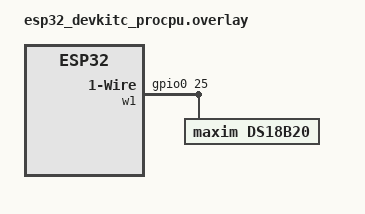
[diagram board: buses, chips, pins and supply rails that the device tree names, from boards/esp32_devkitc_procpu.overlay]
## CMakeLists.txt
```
cmake_minimum_required(VERSION 3.22)

set(ZEPHYR_EXTRA_MODULES
    "$ENV{HOME}/esp32_zephyr_wifi_lib"
    "$ENV{HOME}/esp32_zephyr_ds18b20_lib"
)

find_package(Zephyr REQUIRED HINTS $ENV{ZEPHYR_BASE})
project(wifi_sta_mode)

target_include_directories(app PRIVATE
    include
)

target_sources(app PRIVATE
    src/main.c
    src/udp_socket.c
    src/events.c
)
```

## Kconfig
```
mainmenu "Network Wi-Fi station mode application"

config UDP_SERVER_ADDR
	string "UDP Server IP address"
	help
	  The UDP server IP address
	  For example: "192.168.50.1"

config UDP_SERVER_PORT
	int "UDP Server Port"
	help
	  The UDP server port
	  For example: 4242

source "Kconfig.zephyr"
```

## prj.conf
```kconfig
# --- Core Networking ---
CONFIG_NETWORKING=y
CONFIG_NET_IPV4=y
CONFIG_NET_UDP=y
CONFIG_NET_SOCKETS=y
CONFIG_POSIX_API=y

# --- Wi-Fi ---
CONFIG_WIFI=y
CONFIG_WIFI_ESP32=y
CONFIG_NET_L2_WIFI_MGMT=y

# --- DHCP (Client only) ---
CONFIG_NET_DHCPV4=y
CONFIG_ESP32_WIFI_STA_AUTO_DHCPV4=y

# --- Connection Management ---
CONFIG_NET_CONNECTION_MANAGER=y
CONFIG_NET_MGMT=y
CONFIG_NET_MGMT_EVENT=y

# --- Logging ---
CONFIG_LOG=y
CONFIG_NET_LOG=y

# --- Enable 1-Wire subsystem ---
CONFIG_W1_ZEPHYR_GPIO=y
CONFIG_W1=y

# --- Enable DS18B20 sensor ---
CONFIG_SENSOR=y
CONFIG_DS18B20=y

# --- Enable Zbus ---
CONFIG_ZBUS=y
CONFIG_ZBUS_RUNTIME_OBSERVERS=y
```

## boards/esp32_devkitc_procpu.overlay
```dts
/*
 * ESP32 DevKit C Temperature Monitor Device Tree Overlay
 *
 * Hardware Configuration:
 * - DS18B20 temperature sensor on GPIO 25 with
 * - 4.7kΩ pull-up resistor
 */

/ {
    w1: w1 {
        compatible = "zephyr,w1-gpio";
        gpios = <&gpio0 25 GPIO_ACTIVE_HIGH>;
        status = "okay";

        ds18b20: ds18b20 {
            compatible = "maxim,ds18b20";
            resolution = <12>;
        };
    };
};
```

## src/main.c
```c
#include <zephyr/kernel.h>
#include "ds18b20.h"
#include "ds18b20_events.h"
#include "events.h"
#include "udp_socket.h"
#include "wifi.h"

#define TEMP_READ_INTERVAL_MS 5000
#define TEMP_STACK_SIZE 1024

LOG_MODULE_REGISTER(APP_MAIN, CONFIG_LOG_DEFAULT_LEVEL);
K_THREAD_STACK_DEFINE(temp_stack, TEMP_STACK_SIZE);

static struct k_thread temp_thread_data = {0};
static k_tid_t temp_tid = NULL;
extern struct k_msgq ds18b20_msgq;

static void ds18b20_sampling_thread() {
    while (true) {
        struct ds18b20_event event = {
                .type = REQUEST,
        };
        k_msgq_put(&ds18b20_msgq, &event, K_FOREVER);
        k_msgq_get(&ds18b20_msgq, &event, K_FOREVER);
        if (event.type == RESPONSE) {
            udp_socket_send_data(&event.temperature);
        } else {
            LOG_WRN("Invalid DS18B20 event type: %d", event.type);
        }
        k_sleep(K_MSEC(TEMP_READ_INTERVAL_MS));
    }
}

void on_socket_event(const struct zbus_channel *chan) {
    if (chan != &socket_chan) {
        return;
    }

    const enum socket_status *status = zbus_chan_const_msg(chan);
    if (!status) {
        LOG_WRN("socket_chan returned NULL message pointer");
        return;
    }

    switch (*status) {
    case SOCKET_OPEN:
        if (!temp_tid) {
            LOG_INF("Starting temperature sampling thread");
            temp_tid = k_thread_create(&temp_thread_data,
                                       temp_stack,
                                       K_THREAD_STACK_SIZEOF(temp_stack),
                                       ds18b20_sampling_thread,
                                       NULL,
                                       NULL,
                                       NULL,
                                       5,
                                       0,
                                       K_NO_WAIT);
        }
        break;
    case SOCKET_CLOSED:
        if (temp_tid) {
            LOG_INF("Stopping temperature sampling thread");
            k_thread_abort(temp_tid);
            temp_tid = NULL;
        }
        break;
    default:
        LOG_WRN("Unknown socket status: %d", (int)*status);
        break;
    }
}

ZBUS_LISTENER_DEFINE(socket_listener, on_socket_event);

int main(void) {
    if (!wifi_init()) {
        return -1;
    }

    if (!udp_socket_init()) {
        return -1;
    }

    if (!ds18b20_init()) {
        return -1;
    }

    return 0;
}
```

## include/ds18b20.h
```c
#ifndef DS18B20_H
#define DS18B20_H

#include <stdbool.h>

/**
 * @brief Initialize the DS18B20 temperature sensor
 * @return true if initialization was successful, false otherwise
 */
bool ds18b20_init(void);

/**
 * @brief Read temperature from the DS18B20 sensor
 */
void ds18b20_read_temperature(void);

#endif /* DS18B20_H */
```

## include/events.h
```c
#ifndef EVENTS_H_
#define EVENTS_H_

#include <zephyr/zbus/zbus.h>

enum socket_status { SOCKET_OPEN, SOCKET_CLOSED };

ZBUS_CHAN_DECLARE(socket_chan);

#endif /* EVENTS_H_ */
```

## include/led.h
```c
#ifndef LED_H
#define LED_H

#include <stdbool.h>

/**
 * @brief Initialize the LED.
 * @return true if initialization was successful, false otherwise.
 */
bool led_init(void);

/**
 * @brief Toggle the LED state at specified intervals.
 */
void led_toggle();

#endif // LED_H
```

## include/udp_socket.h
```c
#ifndef UDP_SOCKET_H
#define UDP_SOCKET_H

#include <zephyr/drivers/sensor.h>

/**
 * @brief Initialize UDP socket module (register dynamic zbus observer)
 * @return true on success, false on failure
 */
bool udp_socket_init(void);

/**
 * @brief Open UDP socket
 */
void udp_socket_open(void);

/**
 * @brief Close UDP socket
 */
void udp_socket_close(void);

/**
 * @brief Send temperature data via UDP socket
 * @param temp Pointer to sensor_value struct containing temperature data
 */
void udp_socket_send_data(const struct sensor_value *temp);

#endif /* UDP_SOCKET_H */
```

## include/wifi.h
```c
#ifndef WIFI_H
#define WIFI_H

#include <zephyr/net/wifi_mgmt.h>

/**
 * @brief Initialize Wi-Fi and register event callbacks
 * @return true if initialization was successful, false otherwise
 */
bool wifi_init(void);

/**
 * @brief Connect to the configured Wi-Fi network
 * @return true if the connection attempt was initiated successfully, false otherwise
 */
bool wifi_connect(void);

/**
 * @brief Handle Wi-Fi management events
 *
 * @param cb Pointer to the net_mgmt_event_callback structure
 * @param mgmt_event The management event type
 * @param iface Pointer to the network interface
 */
void on_wifi_mgmt_event(struct net_mgmt_event_callback *cb,
                        uint64_t mgmt_event,
                        struct net_if *iface);

/**
 * @brief Handle IPv4 management events
 * @param cb Pointer to the net_mgmt_event_callback structure
 * @param mgmt_event The management event type
 * @param iface Pointer to the network interface
 */
void on_ipv4_mgmt_event(struct net_mgmt_event_callback *cb,
                        uint64_t mgmt_event,
                        struct net_if *iface);

#endif /* WIFI_H */
```

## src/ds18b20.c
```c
#include "ds18b20.h"
#include "events.h"
#include <zephyr/device.h>
#include <zephyr/devicetree.h>
#include <zephyr/drivers/sensor.h>
#include <zephyr/kernel.h>
#include <zephyr/logging/log.h>

#define TEMP_READ_INTERVAL_MS 5000
#define TEMP_STACK_SIZE 1024

LOG_MODULE_REGISTER(APP_DS18B20, CONFIG_LOG_DEFAULT_LEVEL);
K_THREAD_STACK_DEFINE(temp_stack, TEMP_STACK_SIZE);

static const struct device *ds18b20;
static struct k_thread temp_thread_data = {0};
static k_tid_t temp_tid = NULL;

static void ds18b20_sampling_thread() {
    while (true) {
        ds18b20_read_temperature();
        k_sleep(K_MSEC(TEMP_READ_INTERVAL_MS));
    }
}

bool ds18b20_init(void) {
    ds18b20 = DEVICE_DT_GET(DT_NODELABEL(ds18b20));

    if (!device_is_ready(ds18b20)) {
        LOG_ERR("DS18B20 device not ready");
        return false;
    }

    LOG_INF("DS18B20 temperature sensor initialized");
    return true;
}

void ds18b20_read_temperature(void) {
    int ret = sensor_sample_fetch(ds18b20);
    if (ret < 0) {
        LOG_ERR("Failed to fetch sensor sample: %s", strerror(errno));
        return;
    }

    struct sensor_value temp;
    ret = sensor_channel_get(ds18b20, SENSOR_CHAN_AMBIENT_TEMP, &temp);
    if (ret < 0) {
        LOG_ERR("Failed to get temperature: %s", strerror(errno));
        return;
    }

    LOG_INF("Temperature: %d.%06d °C", temp.val1, temp.val2);

    ret = zbus_chan_pub(&temp_chan, &temp, K_NO_WAIT);
    if (ret < 0) {
        LOG_ERR("Failed to publish temperature, error: %s", strerror(ret));
        return;
    }
}

void on_socket_event(const struct zbus_channel *chan) {
    if (chan != &socket_chan) {
        return;
    }

    const enum socket_status *status = zbus_chan_const_msg(chan);
    if (!status) {
        LOG_WRN("socket_chan returned NULL message pointer");
        return;
    }

    switch (*status) {
    case SOCKET_OPEN:
        if (!temp_tid) {
            LOG_INF("Starting temperature sampling thread");
            temp_tid = k_thread_create(&temp_thread_data,
                                       temp_stack,
                                       K_THREAD_STACK_SIZEOF(temp_stack),
                                       ds18b20_sampling_thread,
                                       NULL,
                                       NULL,
                                       NULL,
                                       5,
                                       0,
                                       K_NO_WAIT);
        }
        break;
    case SOCKET_CLOSED:
        if (temp_tid) {
            LOG_INF("Stopping temperature sampling thread");
            k_thread_abort(temp_tid);
            temp_tid = NULL;
        }
        break;
    default:
        LOG_WRN("Unknown socket status: %d", (int)*status);
        break;
    }
}

ZBUS_LISTENER_DEFINE(socket_listener, on_socket_event);
```

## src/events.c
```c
#include "events.h"
#include <zephyr/drivers/sensor.h>
#include <zephyr/zbus/zbus.h>

ZBUS_CHAN_DEFINE(socket_chan,
                 enum socket_status,
                 NULL,
                 NULL,
                 ZBUS_OBSERVERS(socket_listener),
                 ZBUS_MSG_INIT(SOCKET_CLOSED));
```

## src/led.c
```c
#include "led.h"
#include <zephyr/drivers/gpio.h>
#include <zephyr/logging/log.h>

#define STACKSIZE 1024
#define THREAD0_PRIORITY 7
#define LED_TOGGLE_INTERVAL_MS 2000

LOG_MODULE_REGISTER(APP_LED, CONFIG_LOG_DEFAULT_LEVEL);

K_THREAD_DEFINE(led_thread_id, STACKSIZE, led_toggle, NULL, NULL, NULL, THREAD0_PRIORITY, 0, 0);

static const struct gpio_dt_spec red_led = GPIO_DT_SPEC_GET(DT_NODELABEL(red_led), gpios);

bool led_init(void) {
    if (!device_is_ready(red_led.port)) {
        LOG_ERR("LED device not ready");
        return false;
    }

    const int ret = gpio_pin_configure_dt(&red_led, GPIO_OUTPUT_HIGH);
    if (ret < 0) {
        return false;
    }

    LOG_INF("LED device initialized");

    return true;
}

void led_toggle(void) {
    while (true) {
        const int ret = gpio_pin_toggle_dt(&red_led);
        if (ret < 0) {
            LOG_ERR("Failed to toggle LED: %s", strerror(errno));
        }

        k_sleep(K_MSEC(LED_TOGGLE_INTERVAL_MS));
    }
}
```

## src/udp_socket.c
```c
#include "udp_socket.h"
#include "events.h"
#include "wifi_events.h"
#include <zephyr/drivers/sensor.h>
#include <zephyr/kernel.h>
#include <zephyr/logging/log.h>
#include <zephyr/net/socket.h>
#include <zephyr/zbus/zbus.h>

BUILD_ASSERT(sizeof(CONFIG_UDP_SERVER_ADDR) > 0,
             "CONFIG_UDP_SERVER_ADDR is empty. Please provide it to west using "
             "-DCONFIG_UDP_SERVER_ADDR=<your-server-ip> or set it in prj.conf.");
BUILD_ASSERT(sizeof(CONFIG_UDP_SERVER_PORT) > 0,
             "CONFIG_UDP_SERVER_PORT is not set or invalid. Please provide it to west "
             "using "
             "-DCONFIG_UDP_SERVER_PORT=<your-server-port> or set it in prj.conf.");

LOG_MODULE_REGISTER(APP_SOCKET, CONFIG_LOG_DEFAULT_LEVEL);

static int udp_sock = -1;
static struct sockaddr_in server_addr = {0};

static void on_network_event(const struct zbus_channel *chan) {
    if (chan != &network_chan) {
        return;
    }

    const enum network_status *status = zbus_chan_const_msg(chan);
    if (!status) {
        LOG_WRN("network_chan returned NULL message pointer");
        return;
    }

    switch (*status) {
    case NETWORK_CONNECTED:
        LOG_INF("Network connected");
        udp_socket_open();
        break;
    case NETWORK_DISCONNECTED:
        LOG_INF("Network disconnected");
        udp_socket_close();
        break;
    default:
        LOG_WRN("Unknown network status: %d", *status);
        break;
    }
}

ZBUS_LISTENER_DEFINE(network_listener, on_network_event);

bool udp_socket_init(void) {
    const int ret = zbus_chan_add_obs(&network_chan, &network_listener, K_NO_WAIT);
    if (ret < 0) {
        LOG_ERR("Failed to add network listener to network_chan: %s", strerror(ret));
        return false;
    }
    return true;
}

void udp_socket_open(void) {
    if (udp_sock >= 0) {
        return;
    }

    udp_sock = socket(AF_INET, SOCK_DGRAM, IPPROTO_UDP);
    if (udp_sock < 0) {
        LOG_ERR("Failed to create UDP socket: %s", strerror(errno));
        return;
    }

    server_addr.sin_family = AF_INET;
    server_addr.sin_port = htons(CONFIG_UDP_SERVER_PORT);
    inet_pton(AF_INET, CONFIG_UDP_SERVER_ADDR, &server_addr.sin_addr);

    LOG_INF("UDP socket created");

    const enum socket_status status = SOCKET_OPEN;
    const int ret = zbus_chan_pub(&socket_chan, &status, K_NO_WAIT);
    if (ret < 0) {
        LOG_ERR("Failed to publish socket status, error: %s", strerror(ret));
    }
}

void udp_socket_close(void) {
    if (udp_sock < 0) {
        return;
    }

    const int ret = close(udp_sock);
    if (ret < 0) {
        LOG_ERR("Failed to close UDP socket: %s", strerror(errno));
        return;
    } else {
        LOG_INF("UDP socket closed, clearing server_addr");
        udp_sock = -1;
        memset(&server_addr, 0, sizeof(server_addr));
    }

    const enum socket_status status = SOCKET_CLOSED;
    const int pub_ret = zbus_chan_pub(&socket_chan, &status, K_NO_WAIT);
    if (pub_ret < 0) {
        LOG_ERR("Failed to publish socket status, error: %s", strerror(pub_ret));
    }
}

void udp_socket_send_data(const struct sensor_value *temp) {
    if (!temp) {
        LOG_WRN("temp_chan returned NULL message pointer");
        return;
    }

    if (udp_sock < 0) {
        LOG_ERR("UDP socket not initialized");
        return;
    }

    const ssize_t sent = sendto(udp_sock,
                                temp,
                                sizeof(struct sensor_value),
                                0,
                                (struct sockaddr *)&server_addr,
                                sizeof(server_addr));
    if (sent < 0) {
        LOG_WRN("Failed to send UDP packet: %s", strerror(errno));
    } else {
        LOG_DBG("Sent %d bytes: val1=%d, val2=%d", (int)sent, temp->val1, temp->val2);
    }
}
```

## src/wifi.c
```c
#include <zephyr/kernel.h>
#include <zephyr/logging/log.h>
#include <zephyr/net/wifi_mgmt.h>
#include <zephyr/zbus/zbus.h>
#include "wifi.h"
#include "events.h"

BUILD_ASSERT(sizeof(CONFIG_WIFI_SAMPLE_SSID) > 0,
             "CONFIG_WIFI_SAMPLE_SSID is empty. Please provide it to west using "
             "-DCONFIG_WIFI_SAMPLE_SSID=<your-ssid> or set it in prj.conf.");
BUILD_ASSERT(sizeof(CONFIG_WIFI_SAMPLE_PSK) > 0,
             "CONFIG_WIFI_SAMPLE_PSK is empty. Please provide it to west using "
             "-DCONFIG_WIFI_SAMPLE_PSK=<your-psk> or set it in prj.conf.");

LOG_MODULE_REGISTER(APP_WIFI, CONFIG_LOG_DEFAULT_LEVEL);

#define NET_EVENT_WIFI_MASK (NET_EVENT_WIFI_CONNECT_RESULT | NET_EVENT_WIFI_DISCONNECT_RESULT)
#define NET_EVENT_IPV4_MASK (NET_EVENT_IPV4_ADDR_ADD | NET_EVENT_IPV4_ADDR_DEL)
#define WIFI_RECONNECT_DELAY_MS 5000

static struct net_if *sta_iface;
static struct wifi_connect_req_params sta_config;
static struct net_mgmt_event_callback wifi_cb;
static struct net_mgmt_event_callback ipv4_callback;
static struct k_work_delayable wifi_reconnect_work;
static enum network_status network_status = NETWORK_DISCONNECTED;

static void wifi_reconnect(struct k_work *work) {
    wifi_connect();
}

bool wifi_init(void) {
    net_mgmt_init_event_callback(&wifi_cb, on_wifi_mgmt_event, NET_EVENT_WIFI_MASK);
    net_mgmt_add_event_callback(&wifi_cb);

    net_mgmt_init_event_callback(&ipv4_callback, on_ipv4_mgmt_event, NET_EVENT_IPV4_MASK);
    net_mgmt_add_event_callback(&ipv4_callback);

    sta_iface = net_if_get_wifi_sta();
    if (!sta_iface) {
        LOG_ERR("STA interface not initialized");
        return false;
    }

    sta_config.ssid = (const uint8_t *)CONFIG_WIFI_SAMPLE_SSID;
    sta_config.ssid_length = sizeof(CONFIG_WIFI_SAMPLE_SSID) - 1;
    sta_config.psk = (const uint8_t *)CONFIG_WIFI_SAMPLE_PSK;
    sta_config.psk_length = sizeof(CONFIG_WIFI_SAMPLE_PSK) - 1;
    sta_config.security = WIFI_SECURITY_TYPE_PSK;
    sta_config.channel = WIFI_CHANNEL_ANY;
    sta_config.band = WIFI_FREQ_BAND_2_4_GHZ;

    k_work_init_delayable(&wifi_reconnect_work, wifi_reconnect);

    return wifi_connect();
}

bool wifi_connect(void) {
    if (!sta_iface) {
        LOG_ERR("STA interface not initialized, wifi_init() must be called first");
        return false;
    }

    LOG_INF("Connecting to SSID: %s", CONFIG_WIFI_SAMPLE_SSID);

    const int ret = net_mgmt(NET_REQUEST_WIFI_CONNECT,
                             sta_iface,
                             &sta_config,
                             sizeof(struct wifi_connect_req_params));
    if (ret < 0) {
        LOG_ERR("Failed to connect: %s", strerror(errno));
        return false;
    }

    return true;
}

void on_wifi_mgmt_event(struct net_mgmt_event_callback *cb,
                        uint64_t mgmt_event,
                        struct net_if *iface) {
    enum network_status new_network_status;

    switch (mgmt_event) {
    case NET_EVENT_WIFI_CONNECT_RESULT: {
        LOG_INF("Connected to %s. Waiting for IP address...", CONFIG_WIFI_SAMPLE_SSID);
        return;
    }
    case NET_EVENT_WIFI_DISCONNECT_RESULT: {
        LOG_INF("Disconnected from %s", CONFIG_WIFI_SAMPLE_SSID);
        new_network_status = NETWORK_DISCONNECTED;
        k_work_schedule(&wifi_reconnect_work, K_MSEC(WIFI_RECONNECT_DELAY_MS));
        break;
    }
    default:
        LOG_WRN("Unhandled Wi-Fi event: %llu", mgmt_event);
        return;
    }

    if (new_network_status == network_status) {
        return;
    }

    network_status = new_network_status;
    const int ret = zbus_chan_pub(&network_chan, &network_status, K_NO_WAIT);
    if (ret < 0) {
        LOG_ERR("Failed to publish network status, error: %s", strerror(ret));
    }
}

void on_ipv4_mgmt_event(struct net_mgmt_event_callback *cb,
                        uint64_t mgmt_event,
                        struct net_if *iface) {
    enum network_status new_network_status;

    switch (mgmt_event) {
    case NET_EVENT_IPV4_ADDR_ADD: {
        LOG_INF("IPv4 address acquired");
        new_network_status = NETWORK_CONNECTED;
        break;
    }
    case NET_EVENT_IPV4_ADDR_DEL: {
        LOG_INF("IPv4 address removed");
        new_network_status = NETWORK_DISCONNECTED;
        break;
    }
    default:
        LOG_WRN("Unhandled IPv4 event: %llu", mgmt_event);
        return;
    }

    if (new_network_status == network_status) {
        return;
    }

    network_status = new_network_status;
    const int ret = zbus_chan_pub(&network_chan, &network_status, K_NO_WAIT);
    if (ret < 0) {
        LOG_ERR("Failed to publish network status, error: %s", strerror(ret));
    }
}
```
